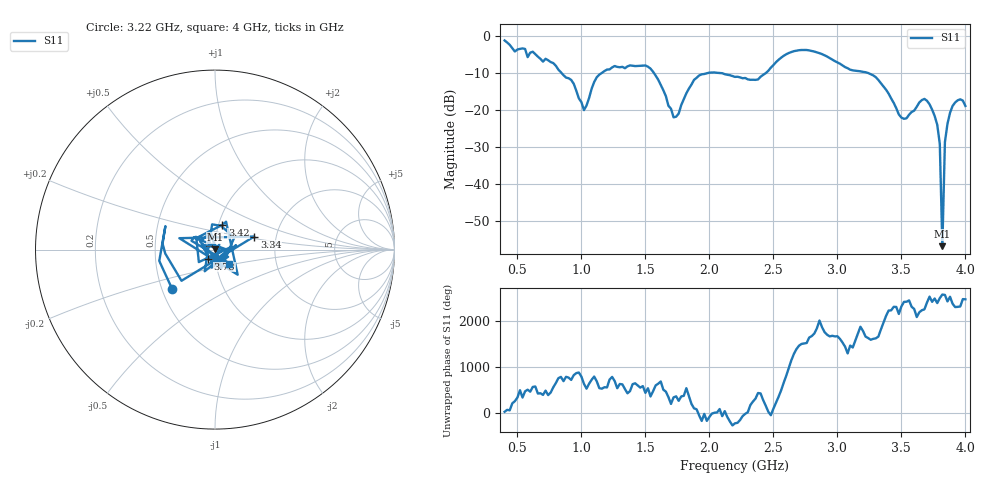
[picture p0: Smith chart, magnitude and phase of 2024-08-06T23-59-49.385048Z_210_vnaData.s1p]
!Created with skrf (http://scikit-rf.org).
# Hz S RI R 50.0
!freq ReS11 ImS11
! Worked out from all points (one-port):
!   181 points, 400 MHz to 4 GHz, reference 50 ohm
!   lowest |S11| = -56.7 dB at 3.82 GHz (marker M1), VSWR 1.00, Z = 50.1 + j0.123 ohm
!   |S11| at or under -10 dB: 1.567 GHz to 1.987 GHz (420.4 MHz wide, 23.7 % of centre); 2.087 GHz to 2.441 GHz (353.5 MHz wide, 15.6 % of centre); 3.241 GHz to end of sweep (the widest 3 of 4)
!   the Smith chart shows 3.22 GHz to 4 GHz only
!   S11 on the Smith chart (normalised r, x): 3.22 GHz: 0.57, -0.28; 3.34 GHz: 1.54, +0.24; 3.42 GHz: 1.04, +0.29; 3.78 GHz: 0.92, -0.09; 4 GHz: 1.16, -0.19
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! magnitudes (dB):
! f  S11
! 400 MHz  -1.2
! 860 MHz  -10.6
! 940 MHz  -12.9
! 1.02 GHz  -20.0
! 1.12 GHz  -11.1
! 1.3 GHz  -8.4
! 1.54 GHz  -8.8
! 1.72 GHz  -22.0
! 1.76 GHz  -20.9
! 1.92 GHz  -10.6
! 2.2 GHz  -11.0
! 2.38 GHz  -11.7
! 2.66 GHz  -4.1
! 2.86 GHz  -4.6
! 3.1 GHz  -9.1
! 3.22 GHz  -9.8
! 3.34 GHz  -12.8
! 3.42 GHz  -16.9
! 3.5 GHz  -22.0
! 3.56 GHz  -21.2
! 3.68 GHz  -17.0
! 3.78 GHz  -23.9
! 3.8 GHz  -29.1
! 3.82 GHz  -56.7
! 3.84 GHz  -28.7
! 3.86 GHz  -23.7
! 3.92 GHz  -17.9
! 4 GHz  -18.9
